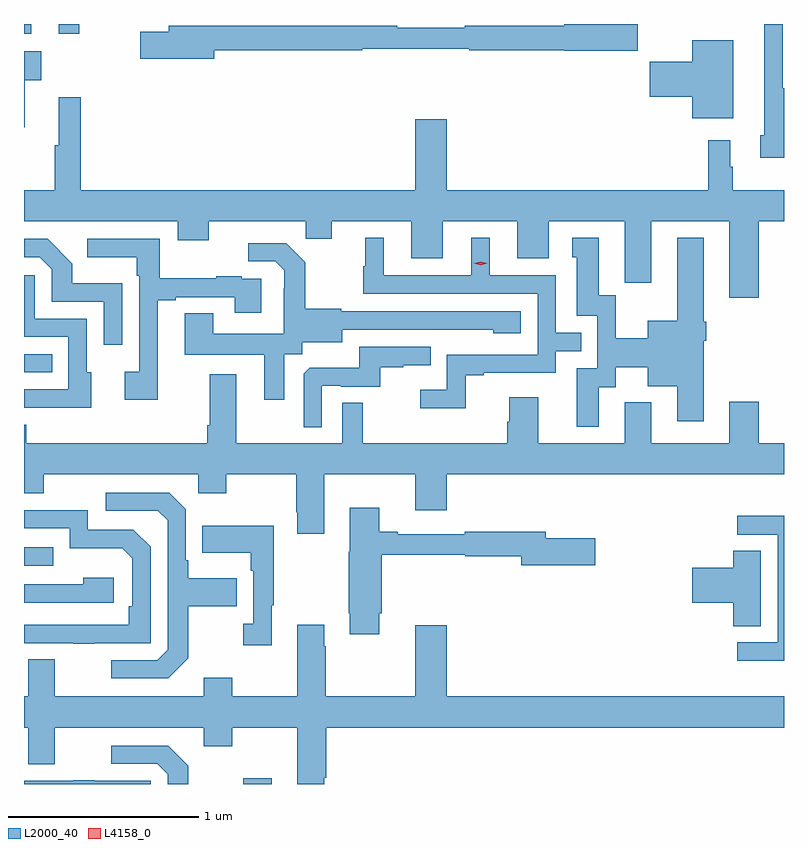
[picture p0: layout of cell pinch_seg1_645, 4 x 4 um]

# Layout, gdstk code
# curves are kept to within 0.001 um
import gdstk
lib = gdstk.Library(unit=1e-6, precision=1e-09)
def R(c, l, rs):  # rectangles x0, y0, x1, y1
    for r in rs: c.add(gdstk.rectangle(r[:2], r[2:], *l))
def P(c, l, *ps):  # polygons
    for p in ps: c.add(gdstk.Polygon(p, *l))
L2000_40 = (2000, 40)
L4158_0 = (4158, 0)

pinch_seg1_645 = lib.new_cell('pinch_seg1_645')
R(pinch_seg1_645, L2000_40, [(859.407,570.083,859.555,570.112), (858.252,571.233,858.407,571.329), (858.252,572.25,858.401,572.346), (858.252,574.031,858.289,574.083), (858.434,574.032,858.544,574.083)])
P(pinch_seg1_645, L2000_40, [(859.252,573.946),(860.031,573.946),(860.031,573.954),(860.596,573.954),(860.596,573.946),(861.096,573.946),(861.096,573.941),(861.481,573.941),(861.481,574.083),(861.096,574.083),(861.096,574.075),(860.572,574.075),(860.572,574.062),(860.216,574.062),(860.216,574.075),(859.013,574.075),(859.013,574.041),(858.864,574.041),(858.864,573.899),(859.252,573.899)],
  [(862.252,573.745),(862.245,573.745),(862.245,574.083),(862.148,574.083),(862.148,573.498),(862.127,573.498),(862.127,573.38),(862.252,573.38)],
  [(861.985,573.997),(861.77,573.997),(861.77,573.884),(861.546,573.884),(861.546,573.701),(861.77,573.701),(861.77,573.587),(861.985,573.587)],
  [(858.257,573.788),(858.343,573.788),(858.343,573.94),(858.252,573.94),(858.252,573.54),(858.257,573.54)],
  [(862.118,573.044),(862.252,573.044),(862.252,573.208),(861.982,573.208),(861.982,573.332),(861.97,573.332),(861.97,573.472),(861.853,573.472),(861.853,573.208),(860.476,573.208),(860.476,573.583),(860.312,573.583),(860.312,573.208),(858.551,573.208),(858.551,573.697),(858.434,573.697),(858.434,573.444),(858.415,573.444),(858.415,573.208),(858.252,573.208),(858.252,573.044),(859.061,573.044),(859.061,572.945),(859.225,572.945),(859.225,573.044),(859.735,573.044),(859.735,572.954),(859.873,572.954),(859.873,573.044),(860.291,573.044),(860.291,572.85),(860.455,572.85),(860.455,573.044),(860.849,573.044),(860.849,572.85),(861.013,572.85),(861.013,573.044),(861.413,573.044),(861.413,572.833),(861.414,572.833),(861.414,572.721),(861.553,572.721),(861.553,573.044),(861.965,573.044),(861.965,572.643),(862.118,572.643)],
  [(860.577,572.235),(860.671,572.235),(860.671,572.247),(861.051,572.247),(861.051,572.361),(861.185,572.361),(861.185,572.457),(861.051,572.457),(861.051,572.76),(860.704,572.76),(860.704,572.959),(860.606,572.959),(860.606,572.76),(860.146,572.76),(860.146,572.959),(860.048,572.959),(860.048,572.808),(860.037,572.808),(860.037,572.664),(860.955,572.664),(860.955,572.343),(860.478,572.343),(860.478,572.158),(860.337,572.158),(860.337,572.06),(860.577,572.06)],
  [(861.277,572.17),(861.367,572.17),(861.367,572.276),(861.536,572.276),(861.536,572.177),(861.689,572.177),(861.689,571.992),(861.829,571.992),(861.829,572.417),(861.842,572.417),(861.842,572.517),(861.829,572.517),(861.829,572.959),(861.689,572.959),(861.689,572.521),(861.536,572.521),(861.536,572.428),(861.366,572.428),(861.366,572.655),(861.277,572.655),(861.277,572.959),(861.137,572.959),(861.137,572.856),(861.161,572.856),(861.161,572.547),(861.27,572.547),(861.27,572.271),(861.161,572.271),(861.161,571.962),(861.277,571.962)],
  [(858.768,572.719),(858.507,572.719),(858.507,572.822),(858.376,572.952),(858.252,572.952),(858.252,572.856),(858.336,572.856),(858.399,572.793),(858.399,572.622),(858.672,572.622),(858.672,572.394),(858.768,572.394)],
  [(858.955,572.628),(859.051,572.628),(859.051,572.646),(859.361,572.646),(859.361,572.562),(859.501,572.562),(859.501,572.742),(859.397,572.742),(859.397,572.755),(859.265,572.755),(859.265,572.744),(858.967,572.744),(858.967,572.952),(858.585,572.952),(858.585,572.855),(858.846,572.855),(858.846,572.759),(858.858,572.759),(858.858,572.254),(858.783,572.254),(858.783,572.106),(858.955,572.106)],
  [(859.621,572.344),(859.716,572.344),(859.716,572.408),(859.927,572.408),(859.927,572.475),(860.721,572.474),(860.721,572.456),(860.866,572.456),(860.866,572.571),(859.923,572.571),(859.923,572.584),(859.731,572.584),(859.731,572.829),(859.631,572.929),(859.431,572.929),(859.431,572.835),(859.575,572.835),(859.622,572.788),(859.622,572.693),(859.62,572.693),(859.62,572.452),(859.249,572.452),(859.249,572.561),(859.097,572.561),(859.097,572.342),(859.517,572.342),(859.517,572.106),(859.621,572.106)],
  [(858.607,572.25),(858.582,572.25),(858.582,572.532),(858.309,572.532),(858.309,572.761),(858.252,572.761),(858.252,572.436),(858.486,572.436),(858.486,572.16),(858.252,572.16),(858.252,572.064),(858.389,572.064),(858.389,572.063),(858.607,572.063)],
  [(859.818,572.178),(859.918,572.178),(859.918,572.175),(860.126,572.175),(860.126,572.277),(860.249,572.277),(860.249,572.288),(860.393,572.288),(860.393,572.385),(860.016,572.385),(860.016,572.273),(859.757,572.273),(859.725,572.241),(859.725,571.961),(859.818,571.961)],
  [(859.831,571.712),(860.312,571.712),(860.312,571.524),(860.476,571.524),(860.476,571.712),(862.252,571.712),(862.252,571.876),(862.118,571.876),(862.118,572.095),(861.965,572.095),(861.965,571.876),(861.553,571.876),(861.553,572.092),(861.413,572.092),(861.413,571.876),(860.959,571.876),(860.959,572.119),(860.807,572.119),(860.807,571.989),(860.795,571.989),(860.795,571.876),(860.035,571.876),(860.035,572.09),(859.926,572.09),(859.926,571.876),(859.369,571.876),(859.369,572.239),(859.229,572.239),(859.229,571.972),(859.217,571.972),(859.217,571.876),(858.265,571.876),(858.265,571.975),(858.252,571.975),(858.252,571.613),(858.357,571.613),(858.357,571.712),(859.17,571.712),(859.17,571.613),(859.317,571.613),(859.317,571.712),(859.684,571.712),(859.684,571.513),(859.691,571.513),(859.691,571.401),(859.831,571.401)],
  [(859.117,570.745),(859.117,571.018),(859.373,571.018),(859.373,571.165),(859.117,571.165),(859.117,571.261),(859.104,571.261),(859.104,571.53),(859.017,571.617),(858.681,571.617),(858.681,571.521),(858.957,571.521),(859.008,571.47),(859.008,570.789),(858.954,570.735),(858.711,570.735),(858.711,570.639),(859.011,570.639)],
  [(860.122,570.982),(860.135,570.982),(860.135,571.29),(860.574,571.29),(860.574,571.282),(860.87,571.282),(860.87,571.235),(861.259,571.235),(861.259,571.377),(860.998,571.377),(860.998,571.411),(860.572,571.411),(860.572,571.398),(860.218,571.398),(860.218,571.411),(860.122,571.411),(860.122,571.537),(859.967,571.537),(859.967,571.305),(859.96,571.305),(859.96,570.982),(859.967,570.982),(859.967,570.87),(860.122,570.87)],
  [(858.623,570.825),(858.918,570.825),(858.918,571.332),(858.828,571.422),(858.588,571.422),(858.588,571.524),(858.252,571.524),(858.252,571.428),(858.492,571.428),(858.492,571.325),(858.769,571.325),(858.822,571.272),(858.822,571.018),(858.802,571.018),(858.802,570.921),(858.252,570.921),(858.252,570.825),(858.511,570.825),(858.511,570.82),(858.623,570.82)],
  [(862.252,571.494),(862.005,571.494),(862.005,571.395),(862.218,571.395),(862.218,570.828),(862.005,570.828),(862.005,570.732),(862.252,570.732)],
  [(859.555,571.025),(859.567,571.025),(859.567,571.441),(859.189,571.441),(859.189,571.301),(859.446,571.301),(859.446,571.205),(859.458,571.205),(859.458,570.926),(859.407,570.926),(859.407,570.813),(859.555,570.813)],
  [(862.129,571.31),(861.986,571.31),(861.986,571.22),(861.768,571.22),(861.768,571.037),(861.986,571.037),(861.986,570.913),(862.129,570.913)],
  [(858.724,571.168),(858.563,571.168),(858.563,571.134),(858.252,571.134),(858.252,571.038),(858.724,571.038)],
  [(859.839,570.809),(859.831,570.809),(859.831,570.922),(859.691,570.922),(859.691,570.544),(859.347,570.544),(859.347,570.643),(859.199,570.643),(859.199,570.544),(858.415,570.544),(858.415,570.739),(858.275,570.739),(858.275,570.544),(858.252,570.544),(858.252,570.38),(858.275,570.38),(858.275,570.186),(858.415,570.186),(858.415,570.38),(859.199,570.38),(859.199,570.281),(859.347,570.281),(859.347,570.38),(859.691,570.38),(859.691,570.083),(859.831,570.083),(859.831,570.115),(859.844,570.115),(859.844,570.38),(862.252,570.38),(862.252,570.544),(860.476,570.544),(860.476,570.919),(860.312,570.919),(860.312,570.544),(859.839,570.544)],
  [(859.117,570.179),(859.011,570.285),(858.711,570.285),(858.711,570.189),(858.954,570.189),(859.008,570.135),(859.008,570.083),(859.117,570.083)],
  [(858.918,570.099),(858.623,570.099),(858.623,570.104),(858.511,570.104),(858.511,570.099),(858.252,570.099),(858.252,570.083),(858.918,570.083)])
P(pinch_seg1_645, L4158_0, [(860.655,572.813),(860.619,572.823),(860.619,572.823),(860.619,572.823),(860.655,572.833),(860.69,572.823),(860.691,572.823),(860.69,572.823)])

lib.write_gds('pinch_seg1_645.gds')
